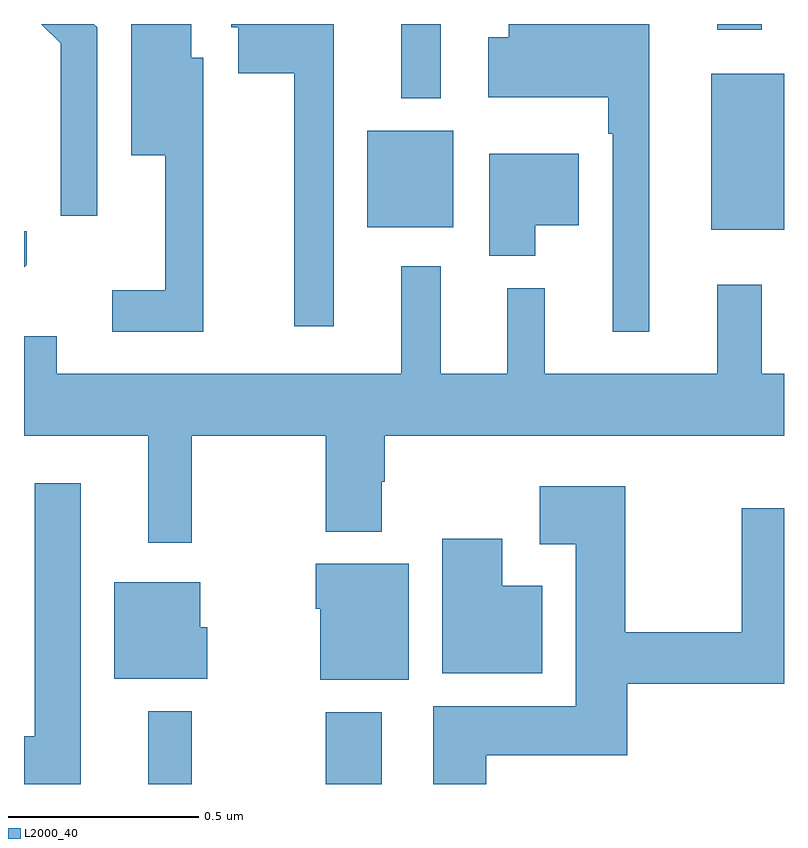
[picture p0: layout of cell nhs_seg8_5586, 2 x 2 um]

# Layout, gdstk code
import gdstk
lib = gdstk.Library(unit=1e-6, precision=1e-09)
def R(c, l, rs):  # rectangles x0, y0, x1, y1
    for r in rs: c.add(gdstk.rectangle(r[:2], r[2:], *l))
def P(c, l, *ps):  # polygons
    for p in ps: c.add(gdstk.Polygon(p, *l))
L2000_40 = (2000, 40)

nhs_seg8_5586 = lib.new_cell('nhs_seg8_5586')
R(nhs_seg8_5586, L2000_40, [(185.327,1132.9,185.441,1133.092), (185.794,1132.9,185.941,1133.089), (186.809,1134.359,187,1134.769), (185.903,1134.365,186.13,1134.619), (185.993,1134.704,186.097,1134.9), (186.824,1134.885,186.941,1134.9)])
P(nhs_seg8_5586, L2000_40, [(185.815,1134.9),(185.546,1134.9),(185.546,1134.891),(185.564,1134.891),(185.564,1134.77),(185.711,1134.77),(185.711,1134.105),(185.815,1134.105)],
  [(186.646,1134.9),(186.275,1134.9),(186.275,1134.865),(186.222,1134.865),(186.222,1134.707),(186.537,1134.707),(186.537,1134.611),(186.549,1134.611),(186.549,1134.09),(186.646,1134.09)],
  [(185.472,1134.811),(185.44,1134.811),(185.44,1134.9),(185.282,1134.9),(185.282,1134.554),(185.372,1134.554),(185.372,1134.199),(185.232,1134.199),(185.232,1134.09),(185.472,1134.09)],
  [(185.193,1134.891),(185.184,1134.9),(185.046,1134.9),(185.097,1134.849),(185.097,1134.396),(185.193,1134.396)],
  [(186.346,1134.371),(186.46,1134.371),(186.46,1134.559),(186.224,1134.559),(186.224,1134.29),(186.346,1134.29)],
  [(185.007,1134.267),(185.007,1134.355),(185,1134.355),(185,1134.26)],
  [(185.441,1133.816),(185.794,1133.816),(185.794,1133.564),(185.941,1133.564),(185.941,1133.696),(185.949,1133.696),(185.949,1133.816),(187,1133.816),(187,1133.98),(186.941,1133.98),(186.941,1134.214),(186.824,1134.214),(186.824,1133.98),(186.371,1133.98),(186.371,1134.205),(186.272,1134.205),(186.272,1133.98),(186.097,1133.98),(186.097,1134.262),(185.993,1134.262),(185.993,1133.98),(185.086,1133.98),(185.086,1134.078),(185,1134.078),(185,1133.816),(185.327,1133.816),(185.327,1133.535),(185.441,1133.535)],
  [(185.149,1133.692),(185.028,1133.692),(185.028,1133.026),(185,1133.026),(185,1132.9),(185.149,1132.9)],
  [(186.217,1132.976),(186.587,1132.976),(186.587,1133.164),(187,1133.164),(187,1133.626),(186.889,1133.626),(186.889,1133.3),(186.582,1133.3),(186.582,1133.683),(186.357,1133.683),(186.357,1133.531),(186.452,1133.531),(186.452,1133.104),(186.077,1133.104),(186.077,1132.9),(186.217,1132.9)],
  [(186.364,1133.422),(186.259,1133.422),(186.259,1133.545),(186.101,1133.545),(186.101,1133.192),(186.364,1133.192)],
  [(186.013,1133.479),(185.768,1133.479),(185.768,1133.361),(185.78,1133.361),(185.78,1133.174),(186.013,1133.174)],
  [(185.482,1133.313),(185.464,1133.313),(185.464,1133.431),(185.237,1133.431),(185.237,1133.177),(185.482,1133.177)])

lib.write_gds('nhs_seg8_5586.gds')
